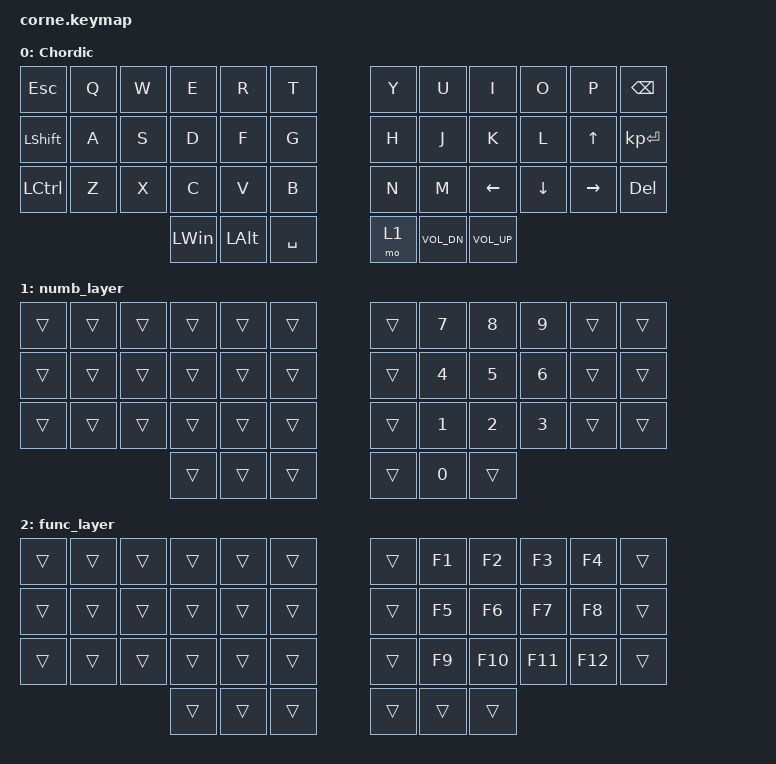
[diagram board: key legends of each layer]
/*
 * Copyright (c) 2020 The ZMK Contributors
 *
 * SPDX-License-Identifier: MIT
 */

#include <behaviors.dtsi>
#include <dt-bindings/zmk/keys.h>

/ {
    combos {
        compatible = "zmk,combos";

        activate_func_layer {
            bindings = <&mo 2>;
            key-positions = <1 2>;
        };

        dot {
            bindings = <&kp PERIOD>;
            key-positions = <21 22>;
        };

        colon {
            bindings = <&kp COLON>;
            key-positions = <19 21 22>;
        };

        apostrophe {
            bindings = <&kp APOSTROPHE>;
            key-positions = <21 8>;
        };

        comma {
            bindings = <&kp COMMA>;
            key-positions = <21 20>;
        };

        semicolon {
            bindings = <&kp SEMICOLON>;
            key-positions = <19 20 21>;
        };

        double_quote {
            bindings = <&kp DOUBLE_QUOTES>;
            key-positions = <7 21>;
        };

        underscore {
            bindings = <&kp UNDERSCORE>;
            key-positions = <31 30>;
        };

        equal {
            bindings = <&kp EQUAL>;
            key-positions = <6 7>;
        };

        minus {
            bindings = <&kp MINUS>;
            key-positions = <18 19>;
        };

        plus {
            bindings = <&kp PLUS>;
            key-positions = <18 19 20>;
        };

        left_bracket {
            bindings = <&kp LEFT_BRACKET>;
            key-positions = <39 7>;
        };

        right_bracket {
            bindings = <&kp RIGHT_BRACKET>;
            key-positions = <39 8>;
        };

        left_parenthesis {
            bindings = <&kp LEFT_PARENTHESIS>;
            key-positions = <39 19>;
        };

        right_parenthesis {
            bindings = <&kp RIGHT_PARENTHESIS>;
            key-positions = <39 20>;
        };

        left_brace {
            bindings = <&kp LEFT_BRACE>;
            key-positions = <39 31>;
        };

        right_brace {
            bindings = <&kp RIGHT_BRACE>;
            key-positions = <39 32>;
        };

        slash {
            bindings = <&kp SLASH>;
            key-positions = <31 20 9>;
        };

        less {
            bindings = <&kp LESS_THAN>;
            key-positions = <41 19 8>;
        };

        tilde {
            bindings = <&kp TILDE>;
            key-positions = <19 10>;
        };

        backslash {
            bindings = <&kp BACKSLASH>;
            key-positions = <7 20 33>;
        };

        greater {
            bindings = <&kp GREATER_THAN>;
            key-positions = <7 20 39>;
        };

        grave {
            bindings = <&kp GRAVE>;
            key-positions = <6 19>;
        };

        caret {
            bindings = <&kp CARET>;
            key-positions = <19 8 21>;
        };

        pipe {
            bindings = <&kp PIPE>;
            key-positions = <40 19 8>;
        };

        percent {
            bindings = <&kp PERCENT>;
            key-positions = <7 33>;
        };

        exclamation {
            bindings = <&kp EXCLAMATION>;
            key-positions = <7 8 21>;
        };

        question {
            bindings = <&kp QUESTION>;
            key-positions = <19 20 9>;
        };

        dollar {
            bindings = <&kp DOLLAR>;
            key-positions = <31 32 9>;
        };

        at_sign {
            bindings = <&kp AT_SIGN>;
            key-positions = <7 20 21>;
        };

        asterisk {
            bindings = <&kp ASTERISK>;
            key-positions = <30 31 32>;
        };

        hash {
            bindings = <&kp HASH>;
            key-positions = <6 7 8>;
        };

        ampersand {
            bindings = <&kp AMPERSAND>;
            key-positions = <18 20>;
        };

        home {
            bindings = <&kp HOME>;
            key-positions = <7 8 9>;
        };

        page_up {
            bindings = <&kp PG_UP>;
            key-positions = <18 21>;
        };

        page_down {
            bindings = <&kp PG_DN>;
            key-positions = <30 33>;
        };

        end {
            bindings = <&kp END>;
            key-positions = <8 9 10>;
        };

        insert {
            bindings = <&kp INSERT>;
            key-positions = <40 41>;
        };

        reset {
            bindings = <&kp C_RESET>;
            key-positions = <1 14 27 16 5>;
        };

        print_screen {
            bindings = <&kp PRINTSCREEN>;
            key-positions = <39 10>;
        };

        tab {
            bindings = <&kp TAB>;
            key-positions = <25 26>;
        };

        mute {
            bindings = <&kp C_MUTE>;
            key-positions = <40 41 39>;
        };
    };

    keymap {
        compatible = "zmk,keymap";

        Chordic {
            // -----------------------------------------------------------------------------------------
            // |  TAB |  Q  |  W  |  E  |  R  |  T  |   |  Y  |  U   |  I  |  O  |  P  | BKSP |
            // | CTRL |  A  |  S  |  D  |  F  |  G  |   |  H  |  J   |  K  |  L  |  ;  |  '   |
            // | SHFT |  Z  |  X  |  C  |  V  |  B  |   |  N  |  M   |  ,  |  .  |  /  | ESC  |
            //                    | GUI | LWR | SPC |   | ENT | RSE  | ALT |

            bindings = <
&kp ESCAPE      &kp Q  &kp W  &kp E         &kp R         &kp T        &kp Y  &kp U         &kp I            &kp O     &kp P         &kp BACKSPACE
&kp LEFT_SHIFT  &kp A  &kp S  &kp D         &kp F         &kp G        &kp H  &kp J         &kp K            &kp L     &kp UP_ARROW  &kp KP_ENTER
&kp LCTRL       &kp Z  &kp X  &kp C         &kp V         &kp B        &kp N  &kp M         &kp LEFT         &kp DOWN  &kp RIGHT     &kp DELETE
                              &kp LEFT_WIN  &kp LEFT_ALT  &kp SPACE    &mo 1  &kp C_VOL_DN  &kp C_VOLUME_UP
            >;
        };

        numb_layer {
            bindings = <
&trans  &trans  &trans  &trans  &trans  &trans    &trans  &kp N7  &kp N8  &kp N9  &trans  &trans
&trans  &trans  &trans  &trans  &trans  &trans    &trans  &kp N4  &kp N5  &kp N6  &trans  &trans
&trans  &trans  &trans  &trans  &trans  &trans    &trans  &kp N1  &kp N2  &kp N3  &trans  &trans
                        &trans  &trans  &trans    &trans  &kp N0  &trans
            >;
        };

        func_layer {
            bindings = <
&trans  &trans  &trans  &trans  &trans  &trans    &trans  &kp F1  &kp F2   &kp F3   &kp F4   &trans
&trans  &trans  &trans  &trans  &trans  &trans    &trans  &kp F5  &kp F6   &kp F7   &kp F8   &trans
&trans  &trans  &trans  &trans  &trans  &trans    &trans  &kp F9  &kp F10  &kp F11  &kp F12  &trans
                        &trans  &trans  &trans    &trans  &trans  &trans
            >;
        };
    };
};
